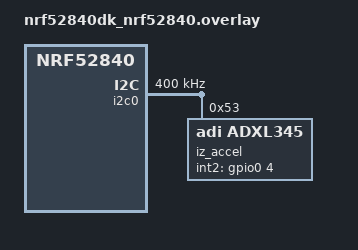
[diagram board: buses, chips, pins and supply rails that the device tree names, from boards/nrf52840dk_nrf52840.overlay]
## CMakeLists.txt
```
cmake_minimum_required(VERSION 3.20.0)
find_package(Zephyr REQUIRED HINTS $ENV{ZEPHYR_BASE})
project(instrumentzero_edge)
if(NOT DEFINED IZ_BINDINGS_DIR)
  message(FATAL_ERROR "Generate reviewed bindings with instrumentzero edge compile SPEC --output DIR and pass -DIZ_BINDINGS_DIR=DIR")
endif()
target_include_directories(app PRIVATE ${IZ_BINDINGS_DIR} ../../src/instrumentzero/edge/core ../../src/instrumentzero/edge/control)
target_compile_options(app PRIVATE -fstack-usage)
target_sources(app PRIVATE src/main.c ../../src/instrumentzero/edge/core/iz_core.c ../../src/instrumentzero/edge/control/iz_control.c)
```

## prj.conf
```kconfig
CONFIG_STD_C11=y
CONFIG_SENSOR=y
CONFIG_I2C=y
CONFIG_GPIO=y
CONFIG_ADXL345=y
CONFIG_ADXL345_TRIGGER_OWN_THREAD=y
CONFIG_ADXL345_THREAD_STACK_SIZE=2048
CONFIG_SERIAL=y
CONFIG_UART_INTERRUPT_DRIVEN=y
CONFIG_CONSOLE=n
CONFIG_UART_CONSOLE=n
CONFIG_LOG=n
CONFIG_PRINTK=n
CONFIG_BOOT_BANNER=n
CONFIG_MAIN_STACK_SIZE=6144
CONFIG_HEAP_MEM_POOL_SIZE=0
CONFIG_REBOOT=y
CONFIG_ENTROPY_GENERATOR=y
CONFIG_XOSHIRO_RANDOM_GENERATOR=y
```

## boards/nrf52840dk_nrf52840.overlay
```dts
#include <zephyr/dt-bindings/gpio/gpio.h>
#include <zephyr/dt-bindings/sensor/adxl345.h>
/ { aliases { iz-accelerometer = &iz_accel; }; };
&i2c0 {
    status = "okay";
    clock-frequency = <I2C_BITRATE_FAST>;
    iz_accel: adxl345@53 {
        compatible = "adi,adxl345";
        reg = <0x53>;
        odr = <ADXL345_DT_ODR_400>;
        int2-gpios = <&gpio0 4 GPIO_ACTIVE_HIGH>;
    };
};
```

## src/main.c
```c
/* InstrumentZero Edge provisional ADXL345 adapter. Never flashed by build scripts.
 * Zephyr's mature driver performs interrupt/bus work. Its callback runs in the
 * driver's acquisition thread, timestamps BEFORE reading the sample, and only
 * enqueues bounded samples. Main thread handles packet encoding and UART.
 * Timestamp is callback time, not the physical MEMS sampling aperture. Driver
 * IRQ masking/FIFO behavior can lose samples; timing validation must reject gaps.
 */
#include <zephyr/kernel.h>
#include <zephyr/device.h>
#include <zephyr/drivers/sensor.h>
#include <zephyr/drivers/uart.h>
#include <zephyr/random/random.h>
#include <zephyr/sys/byteorder.h>
#include <zephyr/sys/atomic.h>
#include <zephyr/sys/reboot.h>
#include <string.h>
#include <math.h>
#include "generated.h"
#include "iz_core.h"
#include "iz_control.h"
BUILD_ASSERT(IZ_CHANNELS == 1, "Provisional sensor adapter exposes z only");
BUILD_ASSERT(IZ_ADAPTER_KIND == 2, "Sensor firmware needs a zephyr_adxl345 specification");
BUILD_ASSERT(IZ_BLOCK_SAMPLES <= 64, "Larger blocks require a separately reviewed stack/memory binding");
BUILD_ASSERT(IZ_RATE_HZ == 100 || IZ_RATE_HZ == 200 || IZ_RATE_HZ == 400);
struct sample { uint64_t us; float z; uint32_t sequence; };
K_MSGQ_DEFINE(samples, sizeof(struct sample), IZ_BLOCK_SAMPLES * IZ_QUEUE_BLOCKS, 8);
static const struct device *accel = DEVICE_DT_GET(DT_ALIAS(iz_accelerometer));
static const struct device *uart = DEVICE_DT_GET(DT_CHOSEN(zephyr_console));
static atomic_t fault;
static atomic_t acquisition_active;
K_MUTEX_DEFINE(acquisition_lock);
static uint32_t source_sequence, previous_cycles;
static uint64_t total_cycles;
static struct sensor_trigger trigger = { .type = SENSOR_TRIG_DATA_READY, .chan = SENSOR_CHAN_ACCEL_XYZ };
static uint8_t sid[16];
static iz_rx_ring uart_rx;
static iz_config current, pending;
static iz_control_guard control;
static uint8_t control_rx[IZ_CONFIG_MAX_BYTES];
static bool trigger_enabled;
static iz_state processor;
static uint32_t output_sequence;
BUILD_ASSERT(sizeof(current)+sizeof(pending)+sizeof(control_rx)+sizeof(uart_rx)+sizeof(control)+sizeof(sid)+IZ_ACK_BYTES <= IZ_CONTROL_RESERVE_BYTES);
static void uart_received(const struct device *dev, void *unused) {
    ARG_UNUSED(unused);
    while (uart_irq_update(dev) && uart_irq_rx_ready(dev)) {
        uint8_t bytes[32];
        int n=uart_fifo_read(dev,bytes,sizeof(bytes));
        if (n<=0) break;
        if (iz_rx_put(&uart_rx,bytes,(size_t)n)!=(size_t)n) {
            atomic_set(&fault,2);
            uart_irq_rx_disable(dev);
            break;
        }
    }
}
static void acquired(const struct device *dev, const struct sensor_trigger *unused) {
    ARG_UNUSED(unused);
    k_mutex_lock(&acquisition_lock,K_FOREVER);
    if (!atomic_get(&acquisition_active) || atomic_get(&fault)) goto done;
    if (source_sequence>=200000u) { atomic_set(&fault,2); goto done; }
    uint32_t cycles = k_cycle_get_32();
    if ((uint32_t)(cycles-previous_cycles)>=0x80000000u) { atomic_set(&fault,2); goto done; }
    total_cycles += (uint32_t)(cycles - previous_cycles);
    previous_cycles = cycles;
    struct sample s = { .us = k_cyc_to_us_floor64(total_cycles), .sequence = source_sequence++ };
    struct sensor_value value;
    if (sensor_sample_fetch(dev) || sensor_channel_get(dev, SENSOR_CHAN_ACCEL_Z, &value)) { atomic_set(&fault, 2); goto done; }
    s.z = sensor_value_to_double(&value);
    /* ADXL345 driver's full-resolution hardware range must be checked physically.
     * ±2g is the conservative software clipping threshold for this provisional binding.
     */
    if (!isfinite(s.z) || fabsf(s.z) >= 19.5936867f) { atomic_set(&fault, 1); goto done; }
    if (k_msgq_put(&samples, &s, K_NO_WAIT)) atomic_set(&fault, 2);
done:
    k_mutex_unlock(&acquisition_lock);
}
static int stop_acquisition(void) {
    atomic_set(&acquisition_active,0);
    /* Wait for an in-flight driver-thread fetch before touching driver state or
     * resetting counters. Later callbacks see the inactive gate under this lock.
     */
    k_mutex_lock(&acquisition_lock,K_FOREVER);
    int rc=trigger_enabled ? sensor_trigger_set(accel,&trigger,NULL) : 0;
    if (!rc) trigger_enabled=false;
    k_msgq_purge(&samples);
    k_mutex_unlock(&acquisition_lock);
    return rc; /* A failed disable ends the program, never opens a new session. */
}
static void send_packet(struct sample *block, uint16_t n, uint16_t flags, uint8_t kind) {
    uint8_t packet[84 + IZ_BLOCK_SAMPLES * 8];
    memcpy(packet, "IZP1", 4); packet[4]=1; packet[5]=kind;
    sys_put_le16(flags, packet+6); memcpy(packet+8, sid, 16);
    sys_put_le32(control.epoch, packet+24); sys_put_le32(block[0].sequence, packet+28);
    sys_put_le64(block[0].us, packet+32); sys_put_le32(kind==3 ? current.rate_hz/current.decimation : current.rate_hz, packet+40);
    sys_put_le16(n, packet+44); sys_put_le16(1, packet+46); memcpy(packet+48, current.spec_sha256, 32);
    for (uint16_t i=0; i<n; i++) {
        sys_put_le32((uint32_t)(block[i].us-block[0].us),packet+80+4*i);
        uint32_t bits; memcpy(&bits, &block[i].z, 4);
        sys_put_le32(bits,packet+80+4*n+4*i);
    }
    size_t size=80+n*8;
    sys_put_le32(iz_crc32(packet,size),packet+size); size+=4;
    uint8_t length[4]; sys_put_le32(size,length);
    for (size_t i=0; i<4; i++) uart_poll_out(uart,length[i]);
    for (size_t i=0; i<size; i++) uart_poll_out(uart,packet[i]);
}
static void process_and_send(struct sample *block, uint16_t n, uint16_t flags) {
    if (current.mode==0 || current.flags || flags) send_packet(block,n,flags,1);
    if (current.mode==0 || flags) return;
    float input[IZ_BLOCK_SAMPLES], output[IZ_BLOCK_SAMPLES];
    for (uint16_t i=0;i<n;i++) input[i]=block[i].z;
    uint64_t before=processor.samples;
    size_t written=0;
    if (iz_process(&processor,input,n,output,IZ_BLOCK_SAMPLES,&written)) { atomic_set(&fault,2); return; }
    struct sample transformed[IZ_BLOCK_SAMPLES]; size_t j=0;
    for (uint16_t i=0;i<n;i++) {
        if (current.mode==1 || (before+i+1)%current.decimation==0) {
            transformed[j]=(struct sample){.us=block[i].us,.z=output[j],.sequence=output_sequence++}; j++;
        }
    }
    if (j!=written) { atomic_set(&fault,2); return; }
    if (j) send_packet(transformed,j,0,current.mode==1?2:3);
}
/* Reception owns every byte until its bounded deadline. Invalid frames cannot
 * turn embedded G/K/S characters into commands. A fresh configuration is needed
 * after every stop, timeout, rejection or start. */
static int receive_byte(uint8_t *out,int64_t deadline) {
    while (k_uptime_get()<deadline) {
        int rc=iz_rx_get(&uart_rx,out);
        if (rc==0) return 0;
        if (rc<0) return -EOVERFLOW;
        k_sleep(K_MSEC(1));
    }
    return -ETIMEDOUT;
}
static int configure_device(void) {
    if (stop_acquisition()) return -EIO;
    iz_control_stop(&control);
    pending=(iz_config){0};
    int64_t deadline=k_uptime_get()+500;
    uint8_t length[2];
    uint8_t status=IZ_CONFIG_TIMEOUT;
    size_t received=0;
    if (!receive_byte(length,deadline) && !receive_byte(length+1,deadline)) {
        uint16_t n=sys_get_le16(length);
        if (n<=IZ_CONFIG_MAX_BYTES && n>=IZ_CONFIG_HEADER_BYTES+4) {
            while (received<n && !receive_byte(control_rx+received,deadline)) received++;
            if (received==n) status=iz_control_stage(&control,&pending,control_rx,n,IZ_BLOCK_SAMPLES,IZ_QUEUE_BLOCKS);
        } else {
            /* Drain a rejected envelope until timeout, never parse its contents
             * as G/start or as another configuration transaction. */
            uint8_t ignored;
            while (!receive_byte(&ignored,deadline)) {}
            status=IZ_CONFIG_INVALID;
        }
    }
    if (status==IZ_CONFIG_OK) {
        const float unity=1.0f;
        int rc=iz_init(&processor,1,&pending.scale,&pending.offset,
                       pending.mode==2?pending.coefficients:&unity,
                       pending.mode==2?pending.taps:1,pending.mode==2?pending.decimation:1);
        struct sensor_value odr={.val1=pending.rate_hz};
        if (!rc) rc=sensor_attr_set(accel,SENSOR_CHAN_ACCEL_XYZ,SENSOR_ATTR_SAMPLING_FREQUENCY,&odr);
        if (rc) { status=IZ_CONFIG_INVALID; iz_control_stop(&control); }
        else {
            current=pending;
            sys_rand_get(sid,sizeof(sid)); sid[6]=(sid[6]&15)|64; sid[8]=(sid[8]&63)|128;
        }
    }
    if (status!=IZ_CONFIG_OK) {
        iz_control_stop(&control);
        pending=(iz_config){0};
        if (received>=12) pending.request_id=sys_get_le32(control_rx+8);
    }
    uint8_t ack[IZ_ACK_BYTES];
    iz_config_ack(ack,&pending,status,control.epoch,sid);
    for (size_t i=0;i<sizeof(ack);i++) uart_poll_out(uart,ack[i]);
    return 0;
}
int main(void) {
    if (!device_is_ready(accel) || !device_is_ready(uart)) return -ENODEV;
    if (uart_irq_callback_user_data_set(uart,uart_received,NULL)) return -ENOTSUP;
    uart_irq_rx_enable(uart);
    struct sample block[IZ_BLOCK_SAMPLES]; uint16_t count=0;
    int64_t last_heartbeat=0, configured_at=0;
    for (;;) {
        uint8_t command;
        if (atomic_load_explicit(&uart_rx.overflow,memory_order_acquire)) {
            iz_control_stop(&control); (void)stop_acquisition(); return -EOVERFLOW;
        }
        if (control.armed && k_uptime_get()-configured_at>2000) iz_control_stop(&control);
        while (iz_rx_get(&uart_rx,&command)==0) {
            if (control.armed && k_uptime_get()-configured_at>2000) iz_control_stop(&control);
            if (command=='S') {
                iz_control_stop(&control); count=0;
                if (stop_acquisition()) return -EIO;
            } else if (command=='C') {
                count=0;
                if (configure_device()) return -EIO;
                configured_at=k_uptime_get();
            } else if (command=='G' && iz_control_start(&control)==IZ_CONFIG_OK) {
                k_mutex_lock(&acquisition_lock,K_FOREVER);
                atomic_set(&fault,0); source_sequence=0; output_sequence=0; total_cycles=0;
                k_msgq_purge(&samples); previous_cycles=k_cycle_get_32();
                int rc=sensor_trigger_set(accel,&trigger,acquired);
                if (!rc) { trigger_enabled=true; atomic_set(&acquisition_active,1); }
                k_mutex_unlock(&acquisition_lock);
                if (rc) return -EIO;
                last_heartbeat=k_uptime_get();
            } else if (command=='K' && atomic_get(&acquisition_active)) last_heartbeat=k_uptime_get();
        }
        if (!atomic_get(&acquisition_active)) { k_sleep(K_MSEC(1)); continue; }
        if (k_uptime_get()-last_heartbeat>2000) {
            iz_control_stop(&control); count=0;
            if (stop_acquisition()) return -EIO;
            continue;
        }
        struct sample next;
        if (!k_msgq_get(&samples,&next,K_MSEC(10))) block[count++]=next;
        uint16_t error=atomic_get(&fault);
        if (count==IZ_BLOCK_SAMPLES || (error && count)) { process_and_send(block,count,error); count=0; }
        if (error) { (void)stop_acquisition(); return -EIO; }
        /* A silent/unplugged I2C sensor times out at host. No fabricated samples. */
    }
}
```
